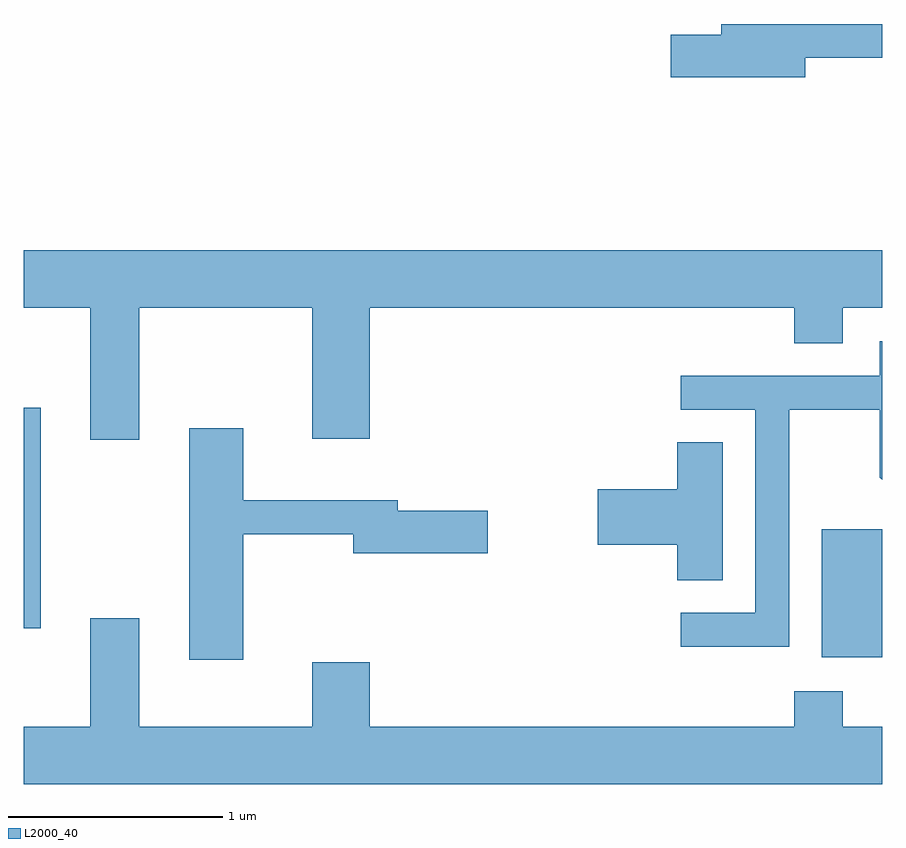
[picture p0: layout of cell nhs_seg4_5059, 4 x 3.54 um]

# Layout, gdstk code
import gdstk
lib = gdstk.Library(unit=1e-6, precision=1e-09)
def R(c, l, rs):  # rectangles x0, y0, x1, y1
    for r in rs: c.add(gdstk.rectangle(r[:2], r[2:], *l))
def P(c, l, *ps):  # polygons
    for p in ps: c.add(gdstk.Polygon(p, *l))
L2000_40 = (2000, 40)

nhs_seg4_5059 = lib.new_cell('nhs_seg4_5059')
R(nhs_seg4_5059, L2000_40, [(337.331,1308.646,337.611,1309.244), (333.611,1308.781,333.689,1309.809)])
P(nhs_seg4_5059, L2000_40, [(337.254,1311.441),(337.611,1311.441),(337.611,1311.599),(336.861,1311.599),(336.861,1311.549),(336.626,1311.549),(336.626,1311.351),(337.254,1311.351)],
  [(334.149,1310.276),(334.956,1310.276),(334.956,1309.666),(335.224,1309.666),(335.224,1310.276),(337.201,1310.276),(337.201,1310.111),(337.429,1310.111),(337.429,1310.276),(337.611,1310.276),(337.611,1310.544),(333.611,1310.544),(333.611,1310.276),(333.921,1310.276),(333.921,1309.661),(334.149,1309.661)],
  [(337.179,1309.801),(337.601,1309.801),(337.601,1309.484),(337.611,1309.474),(337.611,1310.119),(337.601,1310.119),(337.601,1309.959),(336.673,1309.959),(336.673,1309.801),(337.021,1309.801),(337.021,1308.854),(336.673,1308.854),(336.673,1308.696),(337.179,1308.696)],
  [(334.634,1309.221),(335.146,1309.221),(335.146,1309.131),(335.774,1309.131),(335.774,1309.329),(335.354,1309.329),(335.354,1309.379),(334.634,1309.379),(334.634,1309.714),(334.381,1309.714),(334.381,1308.636),(334.634,1308.636)],
  [(336.869,1309.649),(336.656,1309.649),(336.656,1309.429),(336.286,1309.429),(336.286,1309.171),(336.656,1309.171),(336.656,1309.006),(336.869,1309.006)],
  [(337.611,1308.324),(337.429,1308.324),(337.429,1308.489),(337.201,1308.489),(337.201,1308.324),(335.224,1308.324),(335.224,1308.624),(334.956,1308.624),(334.956,1308.324),(334.149,1308.324),(334.149,1308.829),(333.921,1308.829),(333.921,1308.324),(333.611,1308.324),(333.611,1308.056),(337.611,1308.056)])

lib.write_gds('nhs_seg4_5059.gds')
